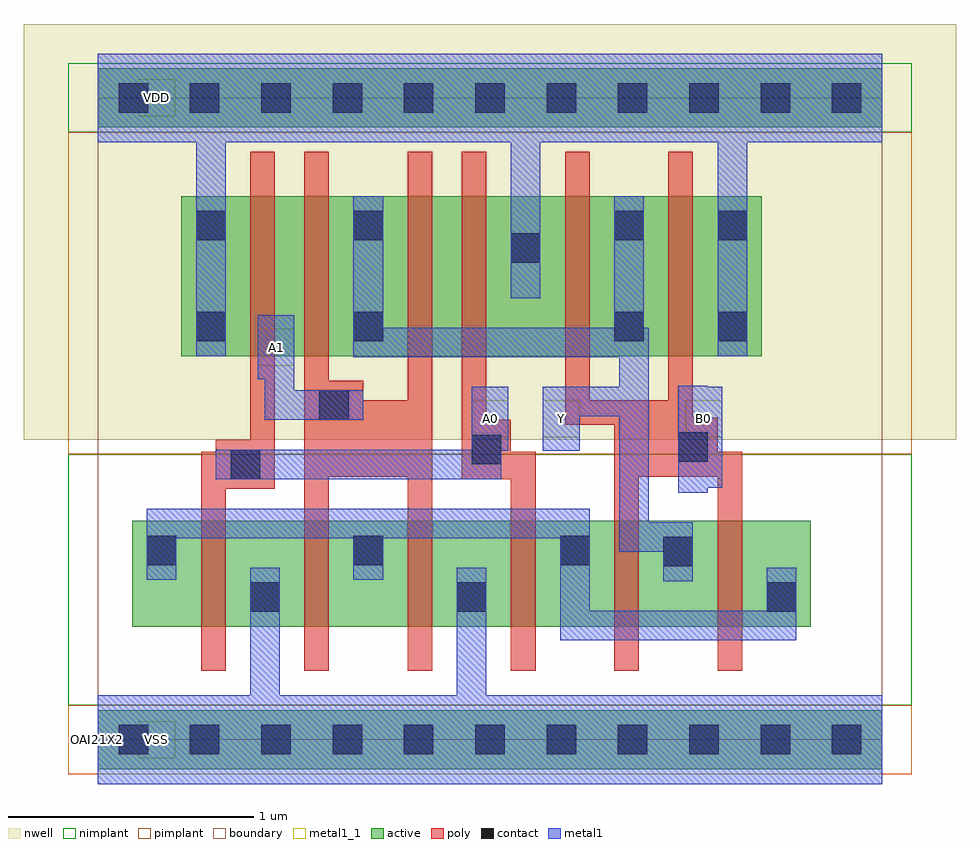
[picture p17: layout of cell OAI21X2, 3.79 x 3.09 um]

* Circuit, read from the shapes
.subckt OAI21X2 A0 A1 B0 VDD VSS Y
M1 VSS A0 n1 VSS nfet w=0.43u l=0.1u m=2
M2 n1 A1 VSS VSS nfet w=0.43u l=0.1u m=2
M3 Y B0 n1 VSS nfet w=0.43u l=0.1u m=2
M4 n2 A0 VDD VDD pfet w=0.65u l=0.1u
M5 Y A1 n2 VDD pfet w=0.65u l=0.1u
M6 n3 A1 Y VDD pfet w=0.65u l=0.1u
M7 VDD A0 n3 VDD pfet w=0.65u l=0.1u
M8 Y B0 VDD VDD pfet w=0.65u l=0.1u m=2
.ends

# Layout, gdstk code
import gdstk
lib = gdstk.Library(unit=1e-6, precision=5e-10)
def R(c, l, rs):  # rectangles x0, y0, x1, y1
    for r in rs: c.add(gdstk.rectangle(r[:2], r[2:], *l))
def A(c, l, x, y, w, h, nx, ny, dx, dy):  # array of equal rectangles
    R(c, l, [(x+i*dx, y+j*dy, x+i*dx+w, y+j*dy+h) for i in range(nx) for j in range(ny)])
active = (1, 0)
nwell = (2, 0)
poly = (3, 0)
nimplant = (4, 0)
pimplant = (5, 0)
contact = (6, 0)
metal1 = (7, 0)
metal1_1 = (7, 1)
boundary = (62, 0)

oai21x2 = lib.new_cell('OAI21X2')
R(oai21x2, active, [(0,-0.12,3.19,0.12), (0.14,0.46,2.9,0.89), (0.34,1.56,2.7,2.21), (0,2.49,3.19,2.73)])
R(oai21x2, nwell, [(-0.3,1.22,3.49,2.91)])
R(oai21x2, poly, [(0.42,0.28,0.52,1.02), (0.84,0.28,0.94,1.07), (1.26,0.28,1.36,1.07), (1.68,0.28,1.78,1.06), (2.1,0.28,2.2,1.07), (2.52,0.28,2.62,1.07), (0.42,1.02,0.72,1.17), (1.48,1.06,1.78,1.17), (0.84,1.07,1.36,1.38), (2.1,1.07,2.62,1.17), (0.48,1.17,0.72,1.22), (1.48,1.17,1.68,1.3), (2.1,1.17,2.52,1.28), (0.62,1.22,0.72,2.39), (1.9,1.28,2.52,1.31), (1.48,1.3,1.58,2.39), (1.9,1.31,2.42,1.38), (0.84,1.38,1.08,1.46), (1.26,1.38,1.36,2.39), (1.9,1.38,2,2.39), (2.32,1.38,2.42,2.39), (0.84,1.46,0.94,2.39)])
R(oai21x2, nimplant, [(-0.12,0.14,3.31,1.16), (-0.12,2.47,3.31,2.75)])
R(oai21x2, pimplant, [(-0.12,-0.14,3.31,0.14), (-0.12,1.16,3.31,2.47)])
A(oai21x2, contact, 0.085, -0.06, 0.12, 0.12, 11, 2, 0.29, 2.61)
A(oai21x2, contact, 0.2, 0.71, 0.12, 0.12, 3, 1, 0.84, 0)
R(oai21x2, contact, [(0.62,0.52,0.74,0.64), (1.46,0.52,1.58,0.64), (2.72,0.52,2.84,0.64), (2.3,0.705,2.42,0.825), (0.54,1.06,0.66,1.18), (1.52,1.12,1.64,1.24), (2.36,1.13,2.48,1.25), (0.9,1.3,1.02,1.42), (0.4,1.62,0.52,1.74), (1.04,1.62,1.16,1.74), (2.1,1.62,2.22,1.74), (2.52,1.62,2.64,1.74), (1.68,1.94,1.8,2.06), (0.4,2.03,0.52,2.15), (1.04,2.03,1.16,2.15), (2.1,2.03,2.22,2.15), (2.52,2.03,2.64,2.15)])
R(oai21x2, metal1, [(0,-0.18,3.19,0.18), (0.62,0.18,0.74,0.7), (1.46,0.18,1.58,0.7), (1.88,0.405,2.84,0.525), (1.88,0.525,2,0.82), (2.72,0.525,2.84,0.7), (2.3,0.645,2.42,0.765), (0.2,0.65,0.32,0.82), (1.04,0.65,1.16,0.82), (2.12,0.765,2.42,0.885), (0.2,0.82,2,0.94), (2.12,0.885,2.24,1.315), (2.36,1.005,2.48,1.025), (2.36,1.025,2.54,1.435), (0.48,1.06,1.64,1.175), (0.48,1.175,1.67,1.18), (1.81,1.175,1.96,1.315), (1.52,1.18,1.67,1.435), (0.68,1.3,1.08,1.42), (1.81,1.315,2.24,1.435), (0.68,1.42,0.8,1.465), (2.12,1.435,2.24,1.555), (2.36,1.435,2.48,1.44), (0.65,1.465,0.8,1.725), (1.04,1.555,2.24,1.675), (0.4,1.56,0.52,2.43), (2.52,1.56,2.64,2.43), (1.04,1.675,1.16,2.21), (2.1,1.675,2.22,2.21), (1.68,1.795,1.8,2.43), (0,2.43,3.19,2.79)])
R(oai21x2, metal1_1, [(0.165,-0.075,0.315,0.075), (1.52,1.23,1.67,1.38), (1.81,1.23,1.96,1.38), (2.39,1.23,2.54,1.38), (0.65,1.52,0.8,1.67), (0.165,2.535,0.315,2.685)])
R(oai21x2, boundary, [(0,0,3.19,2.61)])
oai21x2.add(gdstk.Label('OAI21X2', (0,0), layer=63, texttype=0))
oai21x2.add(gdstk.Label('VSS', (0.24,0), layer=7, texttype=3))
oai21x2.add(gdstk.Label('VDD', (0.24,2.61), layer=7, texttype=3))
oai21x2.add(gdstk.Label('B0', (2.465,1.305), layer=7, texttype=3))
oai21x2.add(gdstk.Label('A0', (1.595,1.305), layer=7, texttype=3))
oai21x2.add(gdstk.Label('A1', (0.725,1.595), layer=7, texttype=3))
oai21x2.add(gdstk.Label('Y', (1.885,1.305), layer=7, texttype=3))

lib.write_gds('OAI21X2.gds')
